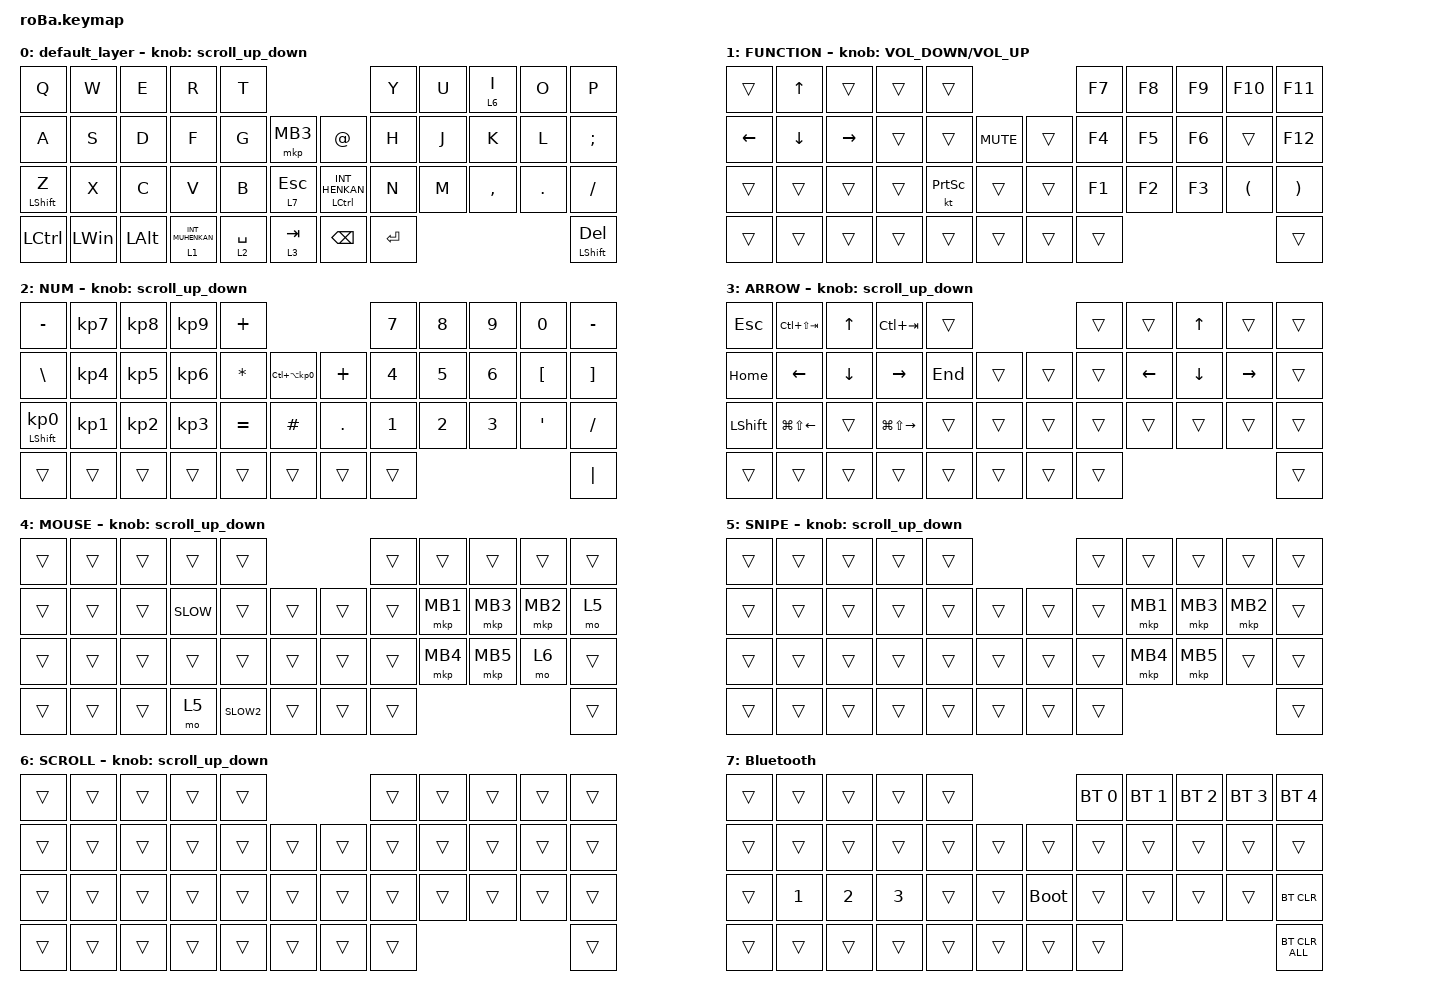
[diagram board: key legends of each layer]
#include <input/processors.dtsi>
#include <behaviors.dtsi>
#include <dt-bindings/zmk/bt.h>
#include <dt-bindings/zmk/keys.h>
#include <dt-bindings/zmk/pointing.h>

#undef ZMK_POINTING_DEFAULT_SCRL_VAL

#define ZMK_POINTING_DEFAULT_SCRL_VAL 100

&mt {
    flavor = "balanced";
    quick-tap-ms = <0>;
};

&trackball {
    //    automouse-layer = <4>;

    scroll-layers = <6>;
};

/ {
    trackball_listener {
        compatible = "zmk,input-listener";
        device = <&trackball>;

        sniper_mode {
            layers = <5>;
            input-processors = <&zip_xy_scaler 1 3>;
        };
    };

    combos {
        compatible = "zmk,combos";

        tab {
            bindings = <&kp TAB>;
            key-positions = <11 12>;
            require-prior-idle-ms = <150>;
        };

        shift_tab {
            bindings = <&kp LS(TAB)>;
            key-positions = <12 13>;
            require-prior-idle-ms = <150>;
        };

        eq {
            bindings = <&kp EQUAL>;
            key-positions = <24 25>;
            require-prior-idle-ms = <150>;
        };

        lclk {
            bindings = <&mkp LCLK>;
            key-positions = <18 19>;
            require-prior-idle-ms = <150>;
            layers = <0>;
        };

        rclk {
            bindings = <&mkp RCLK>;
            key-positions = <19 20>;
            require-prior-idle-ms = <150>;
            layers = <0>;
        };

        mclk {
            bindings = <&mkp MCLK>;
            key-positions = <18 20>;
            require-prior-idle-ms = <150>;
            layers = <0>;
        };

        mb4 {
            bindings = <&mkp MB4>;
            key-positions = <30 31>;
            require-prior-idle-ms = <150>;
            layers = <0>;
        };

        mb5 {
            bindings = <&mkp MB5>;
            key-positions = <31 32>;
            layers = <0>;
            require-prior-idle-ms = <150>;
        };

        scrall {
            bindings = <&mo 6>;
            key-positions = <21 20>;
            require-prior-idle-ms = <150>;
            layers = <0 6>;
        };

        snipe {
            bindings = <&mo 5>;
            key-positions = <32 33>;
            layers = <5 0>;
            require-prior-idle-ms = <150>;
        };
    };

    macros {
        to_layer_0: to_layer_0 {
            compatible = "zmk,behavior-macro-one-param";
            #binding-cells = <1>;
            bindings = <&to 0 &macro_param_1to1 &kp MACRO_PLACEHOLDER>;
            label = "TO_LAYER_0";
        };
    };

    behaviors {
        lt_to_layer_0: lt_to_layer_0 {
            compatible = "zmk,behavior-hold-tap";
            label = "LAYER_TAP_TO_0";
            bindings = <&mo>, <&to_layer_0>;

            #binding-cells = <2>;
            tapping-term-ms = <200>;
        };

        //マウススクロールを追加

        scroll_up_down: behavior_sensor_rotate_mouse_wheel_up_down {
            compatible = "zmk,behavior-sensor-rotate";
            #sensor-binding-cells = <0>;
            bindings = <&msc SCRL_DOWN>, <&msc SCRL_UP>;

            tap-ms = <20>;
        };
    };

    keymap {
        compatible = "zmk,keymap";

        default_layer {
            bindings = <
&kp Q             &kp W         &kp E         &kp R                          &kp T                                                       &kp Y      &kp U  &lt 6 I    &kp O    &kp P
&kp A             &kp S         &kp D         &kp F                          &kp G        &mkp MB3          &kp AT                       &kp H      &kp J  &kp K      &kp L    &kp SEMICOLON
&mt LEFT_SHIFT Z  &kp X         &kp C         &kp V                          &kp B        &lt 7 ESCAPE      &mt LEFT_CONTROL INT_HENKAN  &kp N      &kp M  &kp COMMA  &kp DOT  &kp SLASH
&kp LCTRL         &kp LEFT_WIN  &kp LEFT_ALT  &lt_to_layer_0 1 INT_MUHENKAN  &lt 2 SPACE  &lt 3 TAB         &kp BACKSPACE                &kp ENTER                             &mt LEFT_SHIFT DEL
            >;

            sensor-bindings = <&scroll_up_down>;
        };

        FUNCTION {
            bindings = <
&trans          &kp UP_ARROW    &trans           &trans  &trans                                   &kp F7  &kp F8  &kp F9  &kp F10   &kp F11
&kp LEFT_ARROW  &kp DOWN_ARROW  &kp RIGHT_ARROW  &trans  &trans           &kp C_MUTE      &trans  &kp F4  &kp F5  &kp F6  &trans    &kp F12
&trans          &trans          &trans           &trans  &kt PRINTSCREEN  &trans          &trans  &kp F1  &kp F2  &kp F3  &kp LPAR  &kp RIGHT_PARENTHESIS
&trans          &trans          &trans           &trans  &trans           &trans          &trans  &trans                            &trans
            >;

            sensor-bindings = <&inc_dec_kp C_VOLUME_DOWN C_VOLUME_UP>;
        };

        NUM {
            bindings = <
&kp MINUS                   &kp KP_NUMBER_7  &kp KP_NUMBER_8  &kp KP_NUMBER_9  &kp PLUS                                               &kp NUMBER_7  &kp NUMBER_8  &kp NUMBER_9  &kp NUMBER_0      &kp MINUS
&kp BACKSLASH               &kp KP_NUMBER_4  &kp KP_NUMBER_5  &kp KP_NUMBER_6  &kp ASTERISK  &kp LC(LA(KP_NUMBER_0))      &kp PLUS    &kp NUMBER_4  &kp NUMBER_5  &kp NUMBER_6  &kp LEFT_BRACKET  &kp RIGHT_BRACKET
&mt LEFT_SHIFT KP_NUMBER_0  &kp KP_NUMBER_1  &kp KP_NUMBER_2  &kp KP_NUMBER_3  &kp EQUAL     &kp HASH                     &kp PERIOD  &kp NUMBER_1  &kp NUMBER_2  &kp NUMBER_3  &kp SINGLE_QUOTE  &kp SLASH
&trans                      &trans           &trans           &trans           &trans        &trans                       &trans      &trans                                                      &kp PIPE
            >;

            sensor-bindings = <&scroll_up_down>;
        };

        ARROW {
            bindings = <
&kp ESCAPE      &kp LC(LS(TAB))         &kp UP_ARROW    &kp LC(TAB)              &trans                       &trans  &trans          &kp UP_ARROW    &trans     &trans
&kp HOME        &kp LEFT_ARROW          &kp DOWN_ARROW  &kp RIGHT_ARROW          &kp END  &trans      &trans  &trans  &kp LEFT_ARROW  &kp DOWN_ARROW  &kp RIGHT  &trans
&kp LEFT_SHIFT  &kp LG(LS(LEFT_ARROW))  &trans          &kp LG(LS(RIGHT_ARROW))  &trans   &trans      &trans  &trans  &trans          &trans          &trans     &trans
&trans          &trans                  &trans          &trans                   &trans   &trans      &trans  &trans                                             &trans
            >;

            sensor-bindings = <&scroll_up_down>;
        };

        MOUSE {
            bindings = <
&trans  &trans  &trans  &trans      &trans                           &trans  &trans    &trans    &trans    &trans
&trans  &trans  &trans  &kp C_SLOW  &trans       &trans      &trans  &trans  &mkp MB1  &mkp MB3  &mkp MB2  &mo 5
&trans  &trans  &trans  &trans      &trans       &trans      &trans  &trans  &mkp MB4  &mkp MB5  &mo 6     &trans
&trans  &trans  &trans  &mo 5       &kp C_SLOW2  &trans      &trans  &trans                                &trans
            >;

            sensor-bindings = <&scroll_up_down>;
        };

        SNIPE {
            bindings = <
&trans  &trans  &trans  &trans  &trans                      &trans  &trans    &trans    &trans    &trans
&trans  &trans  &trans  &trans  &trans  &trans      &trans  &trans  &mkp MB1  &mkp MB3  &mkp MB2  &trans
&trans  &trans  &trans  &trans  &trans  &trans      &trans  &trans  &mkp MB4  &mkp MB5  &trans    &trans
&trans  &trans  &trans  &trans  &trans  &trans      &trans  &trans                                &trans
            >;

            sensor-bindings = <&scroll_up_down>;
        };

        SCROLL {
            bindings = <
&trans  &trans  &trans  &trans  &trans                      &trans  &trans  &trans  &trans  &trans
&trans  &trans  &trans  &trans  &trans  &trans      &trans  &trans  &trans  &trans  &trans  &trans
&trans  &trans  &trans  &trans  &trans  &trans      &trans  &trans  &trans  &trans  &trans  &trans
&trans  &trans  &trans  &trans  &trans  &trans      &trans  &trans                          &trans
            >;

            sensor-bindings = <&scroll_up_down>;
        };

        Bluetooth {
            bindings = <
&trans  &trans        &trans        &trans        &trans                           &bt BT_SEL 0  &bt BT_SEL 1  &bt BT_SEL 2  &bt BT_SEL 3  &bt BT_SEL 4
&trans  &trans        &trans        &trans        &trans  &trans      &trans       &trans        &trans        &trans        &trans        &trans
&trans  &kp NUMBER_1  &kp NUMBER_2  &kp NUMBER_3  &trans  &trans      &bootloader  &trans        &trans        &trans        &trans        &bt BT_CLR
&trans  &trans        &trans        &trans        &trans  &trans      &trans       &trans                                                  &bt BT_CLR_ALL
            >;
        };
    };
};
